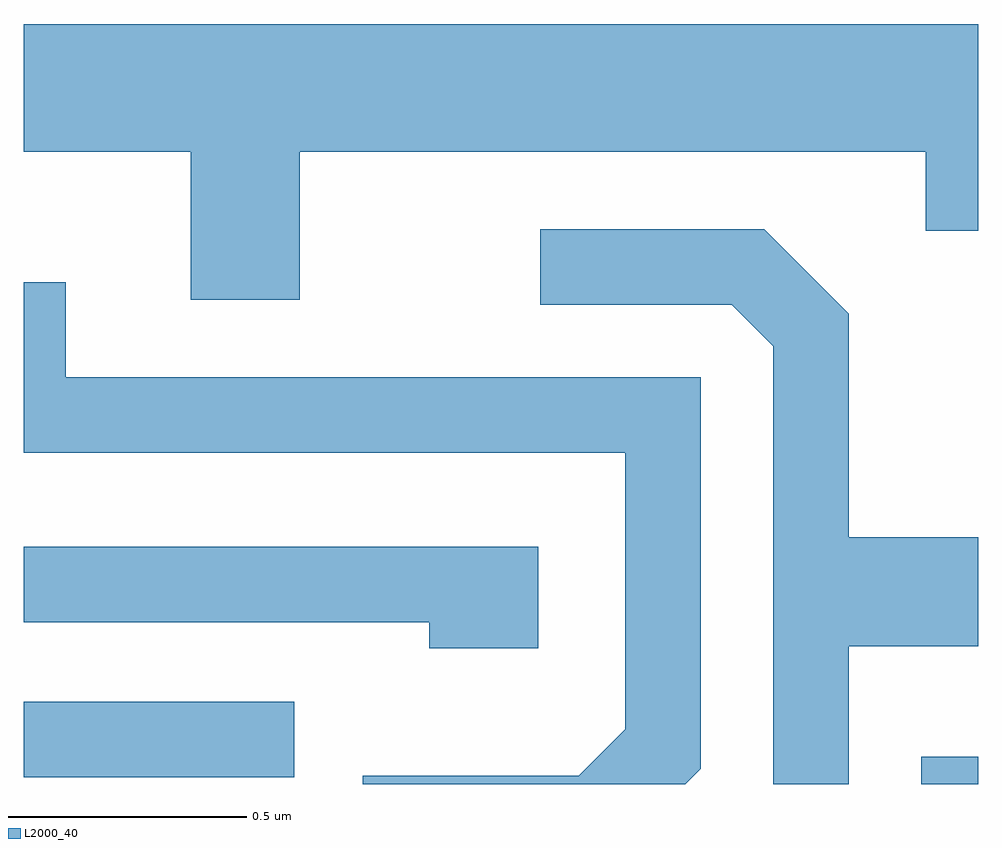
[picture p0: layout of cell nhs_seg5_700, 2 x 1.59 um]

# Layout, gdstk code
import gdstk
lib = gdstk.Library(unit=1e-6, precision=1e-09)
def R(c, l, rs):  # rectangles x0, y0, x1, y1
    for r in rs: c.add(gdstk.rectangle(r[:2], r[2:], *l))
def P(c, l, *ps):  # polygons
    for p in ps: c.add(gdstk.Polygon(p, *l))
L2000_40 = (2000, 40)

nhs_seg5_700 = lib.new_cell('nhs_seg5_700')
R(nhs_seg5_700, L2000_40, [(192.491,1411.072,192.611,1411.129), (190.611,1411.086,191.178,1411.244)])
P(nhs_seg5_700, L2000_40, [(191.189,1412.396),(192.501,1412.396),(192.501,1412.231),(192.611,1412.231),(192.611,1412.664),(190.611,1412.664),(190.611,1412.396),(190.961,1412.396),(190.961,1412.086),(191.189,1412.086)],
  [(192.339,1411.361),(192.611,1411.361),(192.611,1411.589),(192.339,1411.589),(192.339,1412.057),(192.162,1412.234),(191.693,1412.234),(191.693,1412.076),(192.094,1412.076),(192.181,1411.989),(192.181,1411.072),(192.339,1411.072)],
  [(192.029,1411.104),(192.029,1411.924),(190.699,1411.924),(190.699,1412.123),(190.611,1412.123),(190.611,1411.766),(191.871,1411.766),(191.871,1411.187),(191.774,1411.089),(191.321,1411.089),(191.321,1411.072),(191.997,1411.072)],
  [(191.689,1411.569),(190.611,1411.569),(190.611,1411.411),(191.461,1411.411),(191.461,1411.356),(191.689,1411.356)])

lib.write_gds('nhs_seg5_700.gds')
